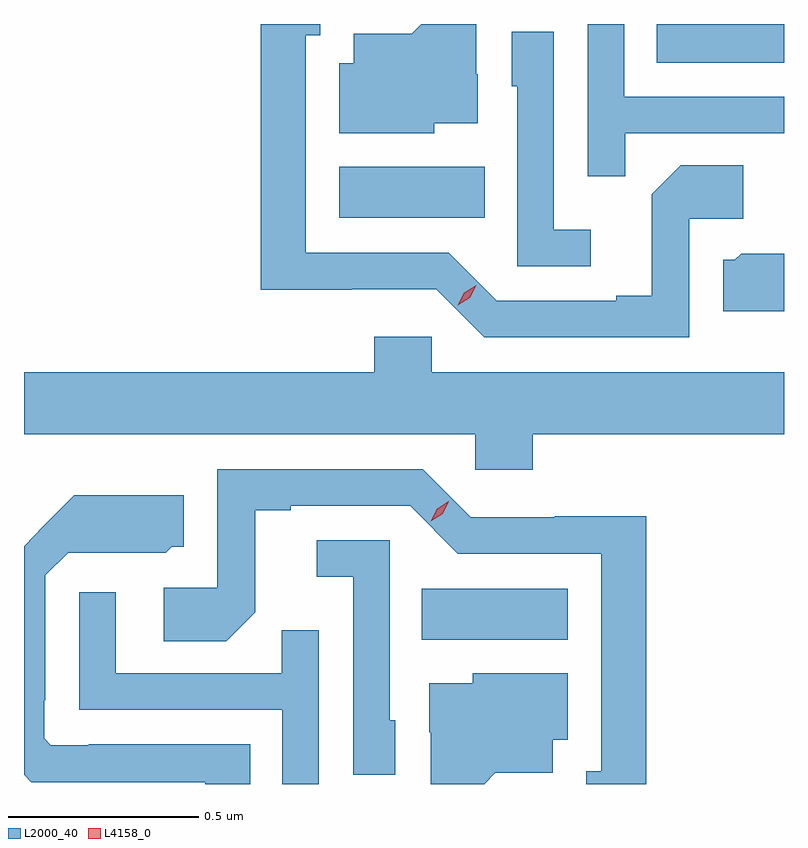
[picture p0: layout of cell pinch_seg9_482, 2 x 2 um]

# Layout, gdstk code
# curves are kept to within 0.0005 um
import gdstk
lib = gdstk.Library(unit=1e-6, precision=1e-09)
def R(c, l, rs):  # rectangles x0, y0, x1, y1
    for r in rs: c.add(gdstk.rectangle(r[:2], r[2:], *l))
def P(c, l, *ps):  # polygons
    for p in ps: c.add(gdstk.Polygon(p, *l))
L2000_40 = (2000, 40)
L4158_0 = (4158, 0)

pinch_seg9_482 = lib.new_cell('pinch_seg9_482')
R(pinch_seg9_482, L2000_40, [(255.25,1197.212,255.634,1197.346), (255.032,1198.322,255.416,1198.456), (255.868,1198.73,256.203,1198.832)])
P(pinch_seg9_482, L2000_40, [(255.954,1198.32),(256.096,1198.32),(256.096,1198.46),(255.931,1198.46),(255.855,1198.384),(255.855,1198.117),(255.761,1198.117),(255.761,1198.104),(255.447,1198.104),(255.321,1198.23),(254.944,1198.23),(254.944,1198.803),(254.983,1198.803),(254.983,1198.832),(254.826,1198.832),(254.826,1198.133),(255.066,1198.133),(255.066,1198.134),(255.288,1198.134),(255.414,1198.008),(255.954,1198.008)],
  [(255.785,1198.545),(256.203,1198.545),(256.203,1198.641),(255.783,1198.641),(255.783,1198.832),(255.687,1198.832),(255.687,1198.432),(255.785,1198.432)],
  [(255.282,1198.571),(255.397,1198.571),(255.397,1198.7),(255.393,1198.7),(255.393,1198.832),(255.248,1198.832),(255.223,1198.807),(255.071,1198.807),(255.071,1198.729),(255.032,1198.729),(255.032,1198.544),(255.282,1198.544)],
  [(255.694,1198.291),(255.597,1198.291),(255.597,1198.811),(255.486,1198.811),(255.486,1198.668),(255.501,1198.668),(255.501,1198.194),(255.694,1198.194)],
  [(256.203,1198.228),(256.09,1198.228),(256.074,1198.212),(256.043,1198.212),(256.043,1198.076),(256.203,1198.076)],
  [(255.542,1197.752),(256.203,1197.752),(256.203,1197.916),(255.276,1197.916),(255.276,1198.009),(255.125,1198.009),(255.125,1197.916),(254.203,1197.916),(254.203,1197.752),(255.39,1197.752),(255.39,1197.659),(255.542,1197.659)],
  [(255.841,1197.536),(255.6,1197.536),(255.6,1197.534),(255.378,1197.534),(255.252,1197.66),(254.712,1197.66),(254.712,1197.348),(254.571,1197.348),(254.571,1197.208),(254.735,1197.208),(254.811,1197.284),(254.811,1197.552),(254.905,1197.552),(254.905,1197.564),(255.219,1197.564),(255.345,1197.438),(255.722,1197.438),(255.722,1196.865),(255.683,1196.865),(255.683,1196.832),(255.841,1196.832)],
  [(254.798,1196.937),(254.374,1196.937),(254.374,1196.934),(254.274,1196.934),(254.256,1196.952),(254.256,1197.052),(254.259,1197.052),(254.259,1197.381),(254.319,1197.441),(254.442,1197.441),(254.442,1197.44),(254.576,1197.44),(254.592,1197.456),(254.623,1197.456),(254.623,1197.592),(254.335,1197.592),(254.203,1197.458),(254.203,1196.856),(254.222,1196.837),(254.323,1196.837),(254.323,1196.836),(254.68,1196.836),(254.68,1196.832),(254.798,1196.832)],
  [(255.18,1197),(255.165,1197),(255.165,1197.474),(254.973,1197.474),(254.973,1197.377),(255.069,1197.377),(255.069,1196.857),(255.18,1196.857)],
  [(254.979,1197.236),(254.881,1197.236),(254.881,1197.123),(254.445,1197.123),(254.445,1197.337),(254.349,1197.337),(254.349,1197.027),(254.883,1197.027),(254.883,1196.832),(254.979,1196.832)],
  [(255.443,1196.861),(255.595,1196.861),(255.595,1196.948),(255.634,1196.948),(255.634,1197.124),(255.384,1197.124),(255.384,1197.097),(255.269,1197.097),(255.269,1196.968),(255.273,1196.968),(255.273,1196.832),(255.414,1196.832)])
P(pinch_seg9_482, L4158_0, [(255.344,1198.092),(255.344,1198.092),(255.361,1198.125),(255.393,1198.144),(255.393,1198.144),(255.393,1198.144),(255.376,1198.112),(255.345,1198.092)],
  [(255.273,1197.523),(255.273,1197.523),(255.29,1197.556),(255.321,1197.576),(255.321,1197.576),(255.321,1197.576),(255.305,1197.543),(255.273,1197.523)])

lib.write_gds('pinch_seg9_482.gds')
